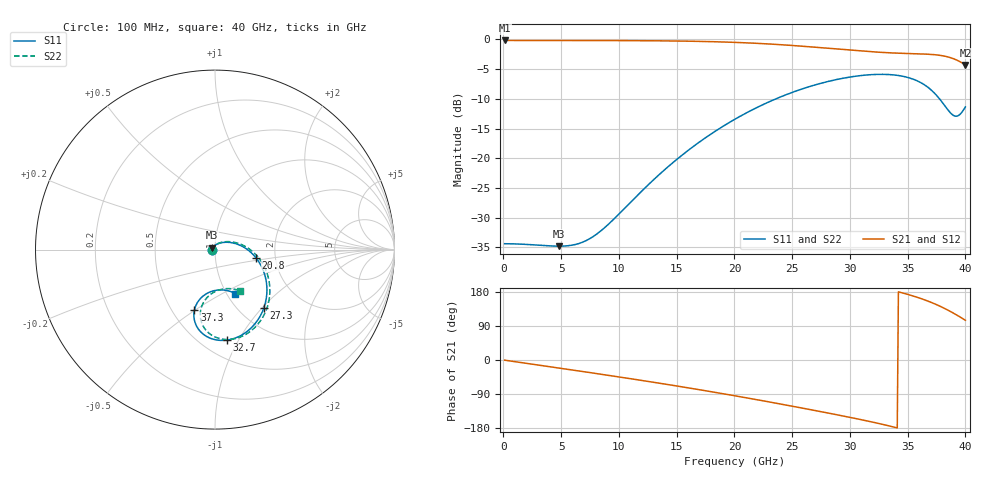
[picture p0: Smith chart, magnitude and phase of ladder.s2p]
! A_s4_d200_ap600: via ladder as kisi uses it (kisi_si::via_pbm, graded grid, junction model), ports at the via
# Hz S RI R 50
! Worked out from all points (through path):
!   400 points, 100 MHz to 40 GHz, reference 50 ohm
!   highest |S21| = -0.17 dB at 100 MHz (marker M1); lowest = -4.3 dB at 40 GHz (marker M2)
!   group delay of S21, straight-line fit = 15.8 ps
!   lowest |S11| = -34.8 dB at 4.8 GHz (marker M3), VSWR 1.04, Z = 48.5 + j1.04 ohm
!   |S11| at or under -10 dB: start of sweep to 23.59 GHz; 37.76 GHz to end of sweep
!   |S22| runs from -34.7 to -5.9 dB; largest |S21 - S12| = 0
!   S11 on the Smith chart (normalised r, x): 100 MHz: 0.96, +0.00; 20.8 GHz: 1.59, -0.16; 27.3 GHz: 1.30, -1.02; 32.7 GHz: 0.66, -0.90; 37.3 GHz: 0.64, -0.50; 40 GHz: 1.10, -0.58
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1e8  -0.0191 0.000181  0.9809 -0.00753  0.9809 -0.00753  -0.0191 0.000175
2.4e9  -0.0181 0.00456  0.9642 -0.1797  0.9642 -0.1797  -0.0182 0.00445
4.8e9  -0.0147 0.0107  0.9143 -0.3541  0.9143 -0.3541  -0.015 0.0106
6.8e9  -0.00833 0.0177  0.8479 -0.4915  0.8479 -0.4915  -0.00893 0.0177
8.8e9  0.00311 0.026  0.7593 -0.6183  0.7593 -0.6183  0.00209 0.0264
1.34e10  0.0588 0.0409  0.4767 -0.8496  0.4767 -0.8496  0.0567 0.0438
1.69e10  0.1327 0.027  0.1999 -0.9429  0.1999 -0.9429  0.131 0.0343
2.01e10  0.2128 -0.0281  -0.078 -0.9415  -0.078 -0.9415  0.2141 -0.015
2.08e10  0.2293 -0.0472  -0.1388 -0.9285  -0.1388 -0.9285  0.2318 -0.0327
2.36e10  0.2795 -0.1484  -0.3689 -0.8307  -0.3689 -0.8307  0.2889 -0.1289
2.67e10  0.2814 -0.2935  -0.5749 -0.6462  -0.5749 -0.6462  0.3026 -0.2715
2.73e10  0.2731 -0.3226  -0.6067 -0.6033  -0.6067 -0.6033  0.2968 -0.3007
2.99e10  0.2011 -0.4367  -0.7109 -0.3985  -0.7109 -0.3985  0.2362 -0.4186
3.27e10  0.0667 -0.5043  -0.7643 -0.1497  -0.7643 -0.1497  0.1109 -0.4963
3.34e10  0.0274 -0.5057  -0.7679 -0.0815  -0.7679 -0.0815  0.0727 -0.501
3.46e10  -0.0394 -0.4878  -0.7624 0.0446  -0.7624 0.0446  0.00589 -0.4892
3.57e10  -0.0911 -0.4447  -0.7379 0.174  -0.7379 0.174  -0.0486 -0.4511
3.73e10  -0.1147 -0.336  -0.6367 0.3863  -0.6367 0.3863  -0.0812 -0.345
3.82e10  -0.0761 -0.2674  -0.5212 0.502  -0.5212 0.502  -0.0491 -0.2727
3.9e10  -0.00333 -0.2283  -0.3748 0.5756  -0.3748 0.5756  0.02 -0.226
3.95e10  0.0548 -0.226  -0.2675 0.5951  -0.2675 0.5951  0.078 -0.2173
4e10  0.1135 -0.2453  -0.1569 0.5884  -0.1569 0.5884  0.139 -0.2301
